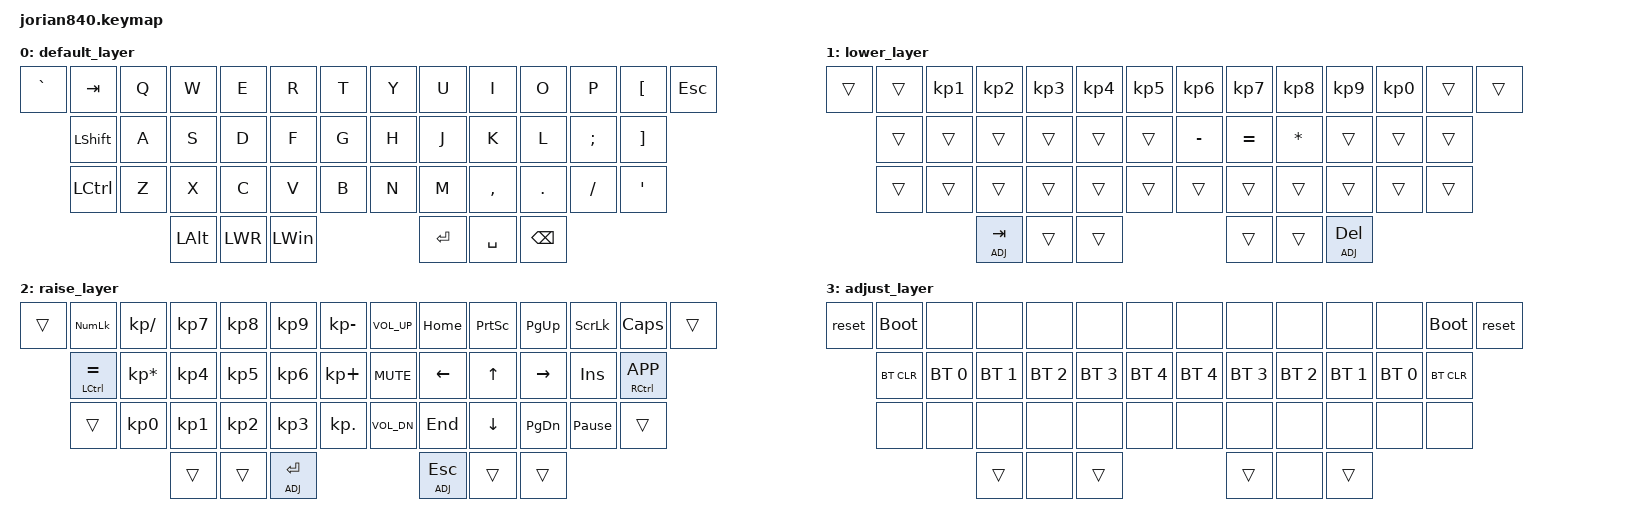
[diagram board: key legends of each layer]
/*
 * Copyright (c) 2020 The ZMK Contributors
 *
 * SPDX-License-Identifier: MIT
 */

#include <behaviors.dtsi>
#include <dt-bindings/zmk/keys.h>
#include <dt-bindings/zmk/bt.h>

#define DEF 0
#define LWR 1
#define RSE 2
#define ADJ 3

&lt { quick_tap_ms = <200>; };
&mt { quick_tap_ms = <200>; };

/ {
        keymap {
                compatible = "zmk,keymap";

                default_layer {
// -----------------------------------------------------------------------------------------
// |  GUI |   ~  |  Q  |  W  |  E  |  R  |  T  |   |  Y  |  U   |  I  |  O  |  P  |  [   | GUI/] |
//        | CTRL |  A  |  S  |  D  |  F  |  G  |   |  H  |  J   |  K  |  L  |  ;  |CTRL/'|
//        | LALT |  Z  |  X  |  C  |  V  |  B  |   |  N  |  M   |  ,  |  .  |  /  | RALT |
//                           | RSE | SPC | LWR |   | LWR | BKSP | RSE |
//                        bindings = <
//   &kp LWIN &kp GRAVE &kp Q &kp W &kp E &kp R &kp T &kp Y         &kp U  &kp I     &kp O   &kp P    &kp LBKT &mt RWIN RBKT
//            &kp LCTRL &kp A &kp S &kp D &kp F &kp G &kp H         &kp J  &kp K     &kp L   &kp SEMI &mt RCTRL SQT
//            &kp LALT  &kp Z &kp X &kp C &kp V &kp B &kp N         &kp M  &kp COMMA &kp DOT &kp FSLH &mt RALT BSLH
//                         &lt RSE TAB &mt LSHFT SPACE &lt LWR RET &lt LWR ESC &mt RSHFT BSPC &lt RSE DEL
//                        >;

// -----------------------------------------------------------------------------------------
// |  ~   |  TAB |  Q  |  W  |  E  |  R  |  T  |   |  Y  |  U   |  I  |  O  |  P  |  [   | GUI/] |
//        | SHFT |  A  |  S  |  D  |  F  |  G  |   |  H  |  J   |  K  |  L  |  ;  |  ]   |
//        | CTRL |  Z  |  X  |  C  |  V  |  B  |   |  N  |  M   |  ,  |  .  |  /  |  '   |
//                           | LALT| LWR | GUI |   | RET | SPC  | BKSP|
                    bindings = <
                          &kp GRAVE &kp TAB   &kp Q &kp W &kp E &kp R &kp T          &kp Y &kp U  &kp I     &kp O   &kp P    &kp LBKT &kp ESC
                                    &kp LSHFT &kp A &kp S &kp D &kp F &kp G          &kp H &kp J  &kp K     &kp L   &kp SEMI &kp RBKT
                                    &kp LCTRL &kp Z &kp X &kp C &kp V &kp B          &kp N &kp M  &kp COMMA &kp DOT &kp FSLH &kp SQT
                                                  &kp LALT &kp LWR &kp LWIN          &kp RETURN &kp SPACE &kp BSPC
                    >;
                };






                lower_layer {
// -----------------------------------------------------------------------------------------
// |     |  _  |  F1 |  F2 |  F3 |  F4 |  F5 |   |  F6 |  F7 |  F8 |  F9 | F10 | F11 | F12 |
//       |  +  |  !  |  @  |  #  |  $  |  %  |   |  ^  |  &  |  *  |  (  |  )  |  -  |
//       |  =  |  1  |  2  |  3  |  4  |  5  |   |  6  |  7  |  8  |  9  |  0  |     |
//                    | GUI |     | SPC |   | ENT |     | ALT |
//                        bindings = <
//   &trans &kp UNDER      &kp F1   &kp F2 &kp F3   &kp F4   &kp F5           &kp F6    &kp F7   &kp F8   &kp F9   &kp F10  &kp F11 &mt RGUI F12
//          &mt LCTRL PLUS &kp EXCL &kp AT &kp HASH &kp DLLR &kp PRCNT        &kp CARET &kp AMPS &kp STAR &kp LPAR &kp RPAR &mt RCTRL MINUS
//          &mt LALT EQUAL &kp N1   &kp N2 &kp N3   &kp N4   &kp N5           &kp N6    &kp N7   &kp N8   &kp N9   &kp N0   &trans
//                                              &lt ADJ TAB &trans &trans   &trans &trans &lt ADJ DEL
//                        >;





// -----------------------------------------------------------------------------------------
// |     |     |  1! |  2@ |  3# |  4$ |  5% |   |  6^ |  7& |  8* |  9( | 0)  |     |     |
//       |     |     |     |     |     |     |   |  -  |  =  |  *  |  (  |  )  |     |
//       |     |     |     |     |     |     |   |     |     |     |     |     |     |
//                         |     |     |     |   |     |     |     |
                        bindings = <
   &trans &trans &kp KP_1   &kp KP_2    &kp KP_3    &kp KP_4    &kp KP_5                 &kp KP_6     &kp KP_7     &kp KP_8    &kp KP_9   &kp KP_0    &trans &trans
          &trans &trans  &trans   &trans   &trans   &trans                &kp MINUS &kp EQUAL &kp STAR &trans  &trans   &trans
          &trans &trans  &trans   &trans   &trans   &trans                &trans    &trans    &trans   &trans  &trans   &trans
                                    &lt ADJ TAB &trans &trans   &trans &trans &lt ADJ DEL
                        >;




                };












                raise_layer {
// -----------------------------------------------------------------------------------------
// |     | NMLK |  /  |  7  |  8  |  9  |  -  |   | VOLU| HOME| PRSC| PGUP| SCLK| CLCK|     |
//       | CTRL |  *  |  4  |  5  |  6  |  +  |   | MUT | LEFT|  UP | RGHT| INS | APP |
//       |      |  0  |  1  |  2  |  3  |  .  |   | VOLD| END | DOWN| PGDN| PAUS|     |
//                          |     |     | ADJ |   | ADJ |     |     |
                        bindings = <
   &trans &kp KP_NUM      &kp KP_SLASH    &kp KP_N7 &kp KP_N8 &kp KP_N9 &kp KP_MINUS        &kp C_VOL_UP &kp HOME &kp PSCRN &kp PG_UP &kp SLCK &kp CAPS &trans
          &mt LCTRL EQUAL &kp KP_MULTIPLY &kp KP_N4 &kp KP_N5 &kp KP_N6 &kp KP_PLUS         &kp C_MUTE   &kp LEFT &kp UP    &kp RIGHT &kp INS  &mt RCTRL K_APP
          &trans          &kp KP_N0       &kp KP_N1 &kp KP_N2 &kp KP_N3 &kp KP_DOT          &kp C_VOL_DN &kp END  &kp DOWN  &kp PG_DN &kp PAUSE_BREAK &trans
                                                           &trans &trans &lt ADJ RET   &lt ADJ ESC &trans &trans
                        >;
                };
                adjust_layer {
// -----------------------------------------------------------------------------------------
// | RST | BLDR |     |     |     |     |     |   |     |     |     |     |     | BLDR | RST |
//       | BTCLR| BT0 | BT1 | BT2 | BT3 | BT4 |   | BT4 | BT3 | BT2 | BT1 | BT0 | BTCLR|
//       |      |     |     |     |     |     |   |     |     |     |     |     |      |
//                          |     |     |     |   |     |     |     |
                        bindings = <
   &reset &bootloader  &none        &none        &none        &none        &none              &none        &none        &none        &none        &none         &bootloader &reset
          &bt BT_CLR   &bt BT_SEL 0 &bt BT_SEL 1 &bt BT_SEL 2 &bt BT_SEL 3 &bt BT_SEL 4       &bt BT_SEL 4 &bt BT_SEL 3 &bt BT_SEL 2 &bt BT_SEL 1 &bt BT_SEL 0  &bt BT_CLR
          &none        &none        &none        &none        &none        &none              &none        &none        &none        &none        &none         &none
                                                                    &trans &none &trans   &trans &none &trans
                        >;
                };
        };
};
